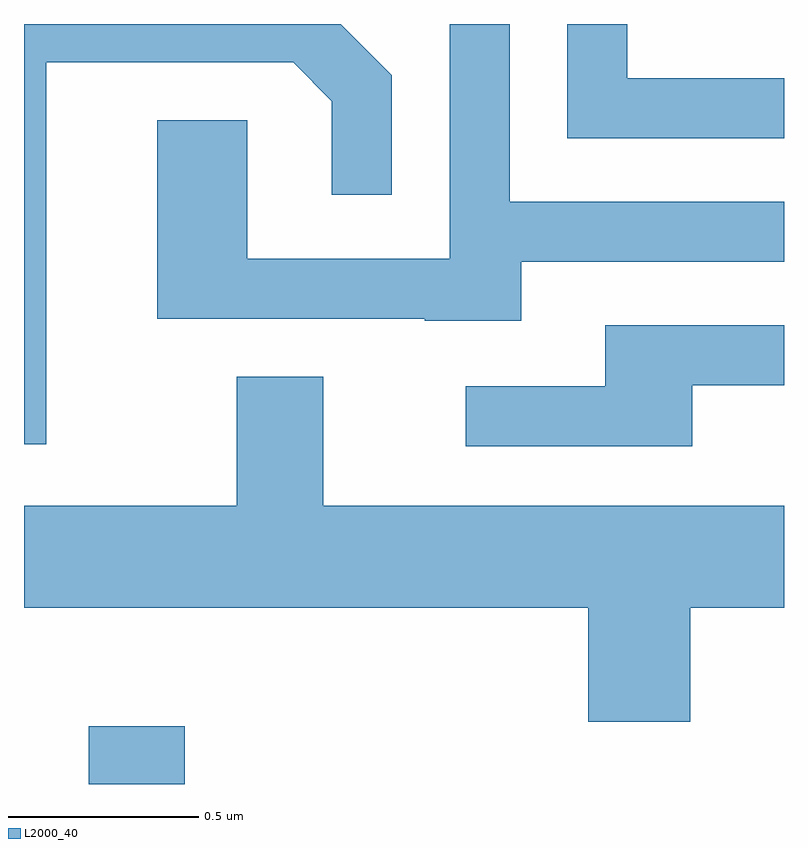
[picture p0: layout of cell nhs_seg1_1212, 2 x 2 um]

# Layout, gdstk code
import gdstk
lib = gdstk.Library(unit=1e-6, precision=1e-09)
def R(c, l, rs):  # rectangles x0, y0, x1, y1
    for r in rs: c.add(gdstk.rectangle(r[:2], r[2:], *l))
def P(c, l, *ps):  # polygons
    for p in ps: c.add(gdstk.Polygon(p, *l))
L2000_40 = (2000, 40)

nhs_seg1_1212 = lib.new_cell('nhs_seg1_1212')
R(nhs_seg1_1212, L2000_40, [(193.781,965.712,194.034,965.864)])
P(nhs_seg1_1212, L2000_40, [(195.611,967.569),(195.199,967.569),(195.199,967.712),(195.041,967.712),(195.041,967.411),(195.611,967.411)],
  [(193.669,967.611),(194.319,967.611),(194.421,967.509),(194.421,967.263),(194.579,967.263),(194.579,967.577),(194.444,967.712),(193.611,967.712),(193.611,966.606),(193.669,966.606)],
  [(194.919,967.086),(195.611,967.086),(195.611,967.244),(194.889,967.244),(194.889,967.712),(194.731,967.712),(194.731,967.094),(194.199,967.094),(194.199,967.459),(193.961,967.459),(193.961,966.936),(194.665,966.936),(194.665,966.931),(194.919,966.931)],
  [(195.369,966.761),(195.611,966.761),(195.611,966.919),(195.141,966.919),(195.141,966.759),(194.773,966.759),(194.773,966.601),(195.369,966.601)],
  [(195.364,966.176),(195.611,966.176),(195.611,966.444),(194.399,966.444),(194.399,966.784),(194.171,966.784),(194.171,966.444),(193.611,966.444),(193.611,966.176),(195.096,966.176),(195.096,965.876),(195.364,965.876)])

lib.write_gds('nhs_seg1_1212.gds')
